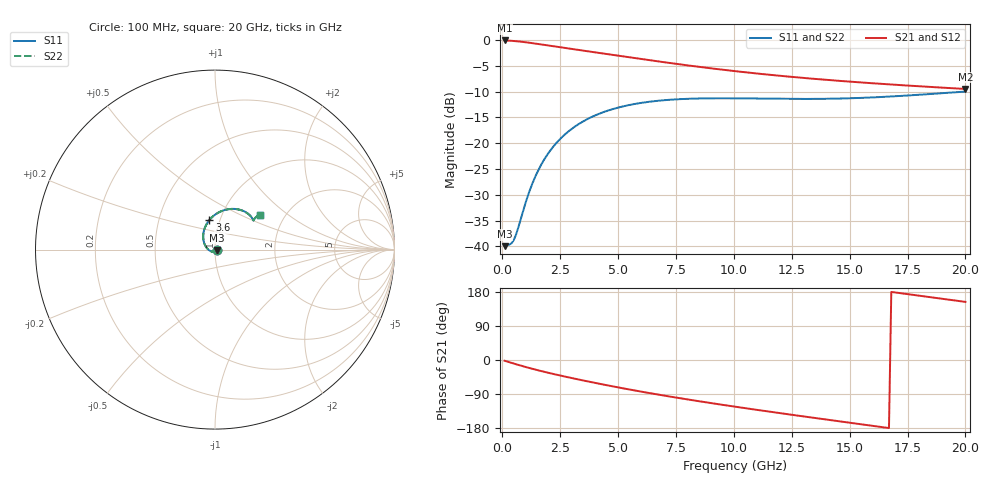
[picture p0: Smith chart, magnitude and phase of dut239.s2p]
! Touchstone file exported from HFSS 2023.1.0
!  File:  D:/Users/fzz/RDL_TSV/temp_RDL_TSV_239_1778759242.aedt
!  Generated:  7:58:18 %x4E0B%x5348  5%x6708 14, 2026
!  Design:  RDL_TSV
!  Project:  temp_RDL_TSV_239_1778759242
!  Setup:  Setup1
!  Solution:  Sweep
! Variables:
!  dtsv = 13.86um
!  hbump = 3um
!  htsv = 67.45um
!  ldown = 131.98um
!  lrdl = 661.38um
!  p = 40
!  p1 = 53.89um
!  rhole = 10um
!  subl = 3041.46um
!  t = 450um
!  tdown = 3.76um
!  trdl = 4.69um
!  viad = 10um
!  wdown = 27.22um
!  wrdl = 25.13um
!  xbump = 18um
# GHz S MA R 50.000000
! Terminal data exported
! Port[1] = TM1_1_T1
! Port[2] = TM1_4_T1
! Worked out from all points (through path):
!   200 points, 100 MHz to 20 GHz, reference 50 ohm
!   highest |S21| = -0.09 dB at 100 MHz (marker M1); lowest = -9.5 dB at 20 GHz (marker M2)
!   group delay of S21, straight-line fit = 27 ps
!   lowest |S11| = -40.0 dB at 100 MHz (marker M3), VSWR 1.02, Z = 51 - j0.218 ohm
!   |S11| at or under -10 dB: start of sweep to 19.99 GHz
!   |S22| runs from -40.0 to -10.0 dB; largest |S21 - S12| = 9.8e-15
!   S11 on the Smith chart (normalised r, x): 100 MHz: 1.02, -0.00; 3.6 GHz: 0.89, +0.30; 20 GHz: 1.50, +0.65
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0.1  0.01006 -12.3  0.9893 -2.0  0.9893 -2.0  0.01006 -12.3
! Gamma 0 0 0 0
! Port Impedance 50 0 50 0
0.4  0.01073 -69.0  0.9813 -7.6  0.9813 -7.6  0.01074 -68.8
0.5  0.01158 -89.4  0.9774 -9.5  0.9774 -9.5  0.01158 -89.3
0.6  0.01315 -108.7  0.9731 -11.3  0.9731 -11.3  0.01315 -108.6
1.1  0.03076 -170.7  0.9448 -20.0  0.9448 -20.0  0.03072 -170.6
1.3  0.04074 175.2  0.9316 -23.3  0.9316 -23.3  0.04069 175.2
1.6  0.05728 158.8  0.9109 -28.0  0.9109 -28.0  0.05721 158.9
1.9  0.07479 146.0  0.8901 -32.5  0.8901 -32.5  0.0747 146.0
2.2  0.09253 135.3  0.8697 -36.8  0.8697 -36.8  0.09243 135.3
2.6  0.1157 123.4  0.8434 -42.3  0.8434 -42.3  0.1156 123.4
3.5  0.163 102.7  0.788 -54.1  0.788 -54.1  0.1629 102.7
3.6  0.1678 100.8  0.7821 -55.4  0.7821 -55.4  0.1676 100.8
4.3  0.1974 88.8  0.7422 -64.0  0.7422 -64.0  0.1972 88.8
5.1  0.2241 77.6  0.6992 -73.4  0.6992 -73.4  0.2239 77.6
6.8  0.2587 60.1  0.6171 -92.0  0.6171 -92.0  0.2583 60.0
8.4  0.2709 49.1  0.5527 -107.9  0.5527 -107.9  0.2705 49.1
10.1  0.2722 41.9  0.4975 -123.6  0.4975 -123.6  0.2718 41.9
11.7  0.2696 38.4  0.4564 -137.7  0.4564 -137.7  0.2692 38.4
13.4  0.2685 37.2  0.4215 -152.2  0.4215 -152.2  0.2681 37.2
15  0.2724 37.5  0.3949 -165.5  0.3949 -165.5  0.2719 37.5
16.7  0.2828 38.2  0.3715 -179.6  0.3715 -179.6  0.2823 38.2
20  0.3163 37.9  0.3354 153.4  0.3354 153.4  0.3157 37.9
